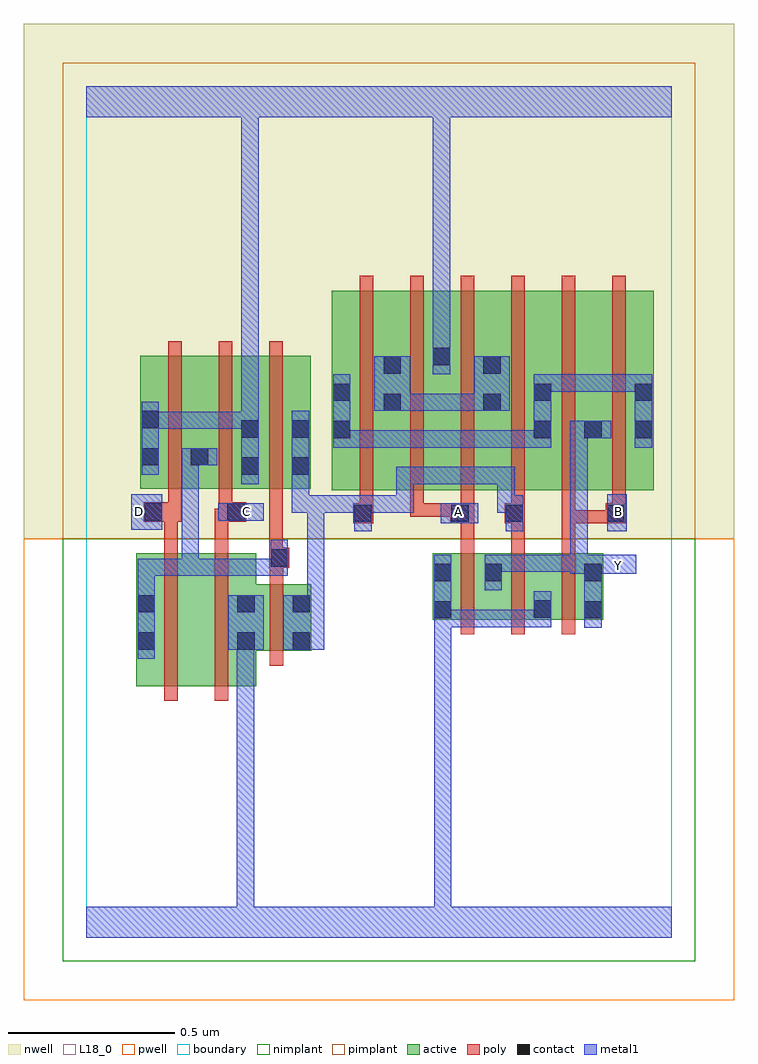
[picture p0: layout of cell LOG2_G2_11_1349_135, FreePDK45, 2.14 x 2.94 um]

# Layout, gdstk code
import gdstk
lib = gdstk.Library(unit=1e-6, precision=1e-09)
def R(c, l, rs):  # rectangles x0, y0, x1, y1
    for r in rs: c.add(gdstk.rectangle(r[:2], r[2:], *l))
def A(c, l, x, y, w, h, nx, ny, dx, dy):  # array of equal rectangles
    R(c, l, [(x+i*dx, y+j*dy, x+i*dx+w, y+j*dy+h) for i in range(nx) for j in range(ny)])
active = (1, 0)
pwell = (2, 0)
nwell = (3, 0)
nimplant = (4, 0)
pimplant = (5, 0)
poly = (9, 0)
contact = (10, 0)
metal1 = (11, 0)
L18_0 = (18, 0)
boundary = (235, 0)

log2_g2_11_1349_135 = lib.new_cell('LOG2_G2_11_1349_135')
A(log2_g2_11_1349_135, active, 1.038, 1.346, 0.06, 0.6, 3, 1, 0.152, 0)
A(log2_g2_11_1349_135, active, 1.038, 1.346, 0.212, 0.6, 4, 1, 0.152, 0)
R(log2_g2_11_1349_135, active, [(0.15,0.756,0.33,1.156), (0.15,0.756,0.21,1.156), (0.33,0.756,0.51,1.156), (0.45,0.756,0.51,1.034), (0.45,0.862,0.676,1.062), (0.616,0.862,0.676,1.062), (1.042,0.956,1.102,1.156), (1.042,0.956,1.254,1.156), (1.194,0.956,1.254,1.156), (1.194,0.956,1.402,1.156), (1.342,0.956,1.402,1.156), (1.342,0.956,1.554,1.156), (1.494,0.956,1.554,1.156), (0.738,1.346,0.798,1.946), (0.738,1.346,0.95,1.946), (0.89,1.346,0.95,1.946), (0.89,1.346,1.098,1.946), (1.646,1.346,1.706,1.946), (0.162,1.35,0.222,1.75), (0.162,1.35,0.37,1.75), (0.31,1.35,0.522,1.75), (0.462,1.35,0.522,1.75), (0.462,1.35,0.674,1.75), (0.614,1.35,0.674,1.644), (0.31,1.416,0.37,1.644), (1.494,1.498,1.554,1.844)])
R(log2_g2_11_1349_135, pwell, [(-0.188,-0.188,1.948,1.2)])
R(log2_g2_11_1349_135, nwell, [(-0.188,1.2,1.948,2.748)])
R(log2_g2_11_1349_135, nimplant, [(-0.072,-0.072,1.832,1.2)])
R(log2_g2_11_1349_135, pimplant, [(-0.072,1.2,1.832,2.632)])
A(log2_g2_11_1349_135, poly, 1.126, 0.912, 0.04, 0.288, 3, 1, 0.152, 0)
A(log2_g2_11_1349_135, poly, 1.126, 1.16, 0.04, 0.126, 3, 1, 0.152, 0)
A(log2_g2_11_1349_135, poly, 0.822, 1.266, 0.04, 0.076, 4, 1, 0.152, 0)
A(log2_g2_11_1349_135, poly, 0.822, 1.302, 0.04, 0.688, 6, 1, 0.152, 0)
A(log2_g2_11_1349_135, poly, 0.246, 1.306, 0.04, 0.488, 3, 1, 0.152, 0)
R(log2_g2_11_1349_135, poly, [(0.234,0.712,0.274,1.2), (0.386,0.712,0.426,1.2), (0.552,0.818,0.592,1.106), (0.552,1.066,0.592,1.152), (0.55,1.112,0.61,1.172), (0.55,1.132,0.59,1.172), (0.55,1.132,0.59,1.172), (0.55,1.132,0.59,1.346), (0.234,1.16,0.274,1.29), (0.386,1.16,0.426,1.29), (0.802,1.246,0.862,1.306), (1.094,1.246,1.166,1.306), (1.258,1.246,1.318,1.306), (1.278,1.246,1.318,1.286), (1.278,1.246,1.318,1.286), (1.43,1.246,1.602,1.286), (1.43,1.246,1.47,1.286), (1.43,1.246,1.47,1.286), (1.43,1.246,1.47,1.286), (1.43,1.246,1.47,1.286), (1.43,1.246,1.47,1.286), (1.43,1.246,1.47,1.342), (1.562,1.246,1.622,1.306), (0.172,1.25,0.286,1.31), (0.234,1.25,0.274,1.29), (0.234,1.25,0.274,1.29), (0.386,1.25,0.438,1.29), (0.398,1.25,0.438,1.29), (0.398,1.25,0.48,1.31), (0.974,1.266,1.014,1.306), (0.974,1.266,1.014,1.306), (0.974,1.266,1.014,1.306), (0.974,1.266,1.166,1.306), (1.126,1.266,1.166,1.306), (1.126,1.266,1.166,1.306), (1.582,1.266,1.622,1.342), (0.246,1.27,0.286,1.346), (0.398,1.27,0.438,1.346)])
A(log2_g2_11_1349_135, contact, 1.346, 1.502, 0.052, 0.052, 3, 1, 0.152, 0)
R(log2_g2_11_1349_135, contact, [(0.154,0.866,0.206,0.918), (0.454,0.866,0.506,0.918), (0.62,0.866,0.672,0.918), (1.046,0.96,1.098,1.012), (1.498,0.96,1.55,1.012), (1.346,0.962,1.398,1.014), (0.154,0.978,0.206,1.03), (0.454,0.978,0.506,1.03), (0.62,0.978,0.672,1.03), (1.046,1.072,1.098,1.124), (1.198,1.072,1.25,1.124), (1.498,1.072,1.55,1.124), (0.554,1.116,0.606,1.168), (0.806,1.25,0.858,1.302), (1.098,1.25,1.15,1.302), (1.262,1.25,1.314,1.302), (1.566,1.25,1.618,1.302), (0.176,1.254,0.228,1.306), (0.424,1.254,0.476,1.306), (0.466,1.392,0.518,1.444), (0.618,1.392,0.67,1.444), (0.166,1.42,0.218,1.472), (0.314,1.42,0.366,1.472), (0.742,1.502,0.794,1.554), (0.466,1.504,0.518,1.556), (0.618,1.504,0.67,1.556), (0.166,1.532,0.218,1.584), (0.894,1.584,0.946,1.636), (1.194,1.584,1.246,1.636), (0.742,1.614,0.794,1.666), (1.346,1.614,1.398,1.666), (1.65,1.614,1.702,1.666), (0.894,1.696,0.946,1.748), (1.194,1.696,1.246,1.748), (1.042,1.722,1.094,1.774)])
R(log2_g2_11_1349_135, metal1, [(0,0,1.76,0.092), (0.452,0.04,0.504,0.092), (0.452,0.04,0.504,0.092), (0.452,0.04,0.504,0.092), (0.452,0.04,0.504,0.092), (0.452,0.04,0.504,0.092), (0.452,0.04,0.504,0.092), (0.452,0.04,0.504,0.918), (1.046,0.04,1.098,0.092), (1.046,0.04,1.098,0.092), (1.046,0.04,1.098,0.092), (1.046,0.04,1.098,0.092), (1.046,0.04,1.098,0.092), (1.046,0.04,1.098,0.092), (1.046,0.04,1.098,0.092), (1.046,0.04,1.098,0.092), (1.046,0.04,1.098,0.092), (1.046,0.04,1.098,0.092), (1.046,0.04,1.098,0.984), (0.154,0.838,0.206,1.058), (0.426,0.866,0.534,1.03), (0.452,0.866,0.504,0.918), (0.452,0.866,0.504,0.918), (0.452,0.866,0.504,0.918), (0.452,0.866,0.504,0.918), (0.452,0.866,0.504,0.918), (0.452,0.866,0.504,0.918), (0.592,0.866,0.716,1.03), (1.046,0.932,1.098,0.984), (1.046,0.932,1.098,0.984), (1.046,0.932,1.098,0.984), (1.046,0.932,1.098,0.984), (1.046,0.932,1.098,0.984), (1.046,0.932,1.098,0.984), (1.046,0.932,1.098,1.152), (1.498,0.932,1.55,1.152), (1.046,0.934,1.098,0.986), (1.046,0.934,1.098,0.986), (1.046,0.934,1.288,0.986), (1.236,0.934,1.288,0.986), (1.236,0.934,1.288,0.986), (1.236,0.934,1.288,0.986), (1.236,0.934,1.398,0.986), (1.346,0.934,1.398,1.042), (0.664,0.978,0.716,1.03), (0.664,0.978,0.716,1.03), (0.664,0.978,0.716,1.33), (0.154,1.006,0.206,1.14), (1.198,1.044,1.25,1.152), (0.154,1.088,0.206,1.14), (0.154,1.088,0.206,1.14), (0.154,1.088,0.206,1.14), (0.154,1.088,0.338,1.14), (0.286,1.088,0.338,1.14), (0.286,1.088,0.338,1.14), (0.286,1.088,0.338,1.14), (0.286,1.088,0.496,1.14), (0.286,1.088,0.338,1.472), (0.444,1.088,0.496,1.14), (0.444,1.088,0.496,1.14), (0.444,1.088,0.496,1.14), (0.444,1.088,0.606,1.14), (0.554,1.088,0.606,1.196), (1.456,1.094,1.654,1.152), (1.498,1.094,1.55,1.146), (1.198,1.1,1.25,1.152), (1.198,1.1,1.25,1.152), (1.198,1.1,1.398,1.152), (1.346,1.1,1.398,1.152), (1.346,1.1,1.398,1.152), (1.346,1.1,1.398,1.152), (1.346,1.1,1.55,1.152), (1.456,1.1,1.508,1.152), (1.456,1.1,1.508,1.152), (1.456,1.1,1.508,1.554), (0.806,1.222,0.858,1.33), (1.262,1.222,1.314,1.33), (1.566,1.222,1.626,1.334), (0.134,1.226,0.228,1.334), (1.066,1.246,1.178,1.306), (0.396,1.254,0.534,1.306), (0.618,1.278,0.67,1.416), (0.618,1.278,0.716,1.33), (0.664,1.278,0.716,1.33), (0.664,1.278,0.716,1.33), (0.664,1.278,0.858,1.33), (0.806,1.278,0.984,1.33), (0.932,1.278,0.984,1.416), (1.236,1.278,1.314,1.33), (1.236,1.278,1.288,1.416), (0.466,1.364,0.518,1.584), (0.618,1.364,0.67,1.584), (0.932,1.364,0.984,1.416), (0.932,1.364,0.984,1.416), (0.932,1.364,1.094,1.416), (1.042,1.364,1.094,1.416), (1.042,1.364,1.094,1.416), (1.042,1.364,1.094,1.416), (1.042,1.364,1.288,1.416), (0.166,1.392,0.218,1.612), (0.286,1.42,0.394,1.472), (0.742,1.474,0.794,1.694), (0.742,1.474,0.864,1.526), (0.812,1.474,0.864,1.526), (0.812,1.474,0.984,1.526), (0.932,1.474,0.984,1.526), (0.932,1.474,0.984,1.526), (0.932,1.474,0.984,1.526), (0.932,1.474,1.108,1.526), (1.056,1.474,1.108,1.526), (1.056,1.474,1.108,1.526), (1.056,1.474,1.108,1.526), (1.056,1.474,1.288,1.526), (1.236,1.474,1.288,1.526), (1.236,1.474,1.288,1.526), (1.236,1.474,1.288,1.526), (1.236,1.474,1.398,1.526), (1.346,1.474,1.398,1.694), (1.65,1.474,1.702,1.694), (1.456,1.502,1.578,1.554), (0.166,1.53,0.218,1.582), (0.166,1.53,0.218,1.582), (0.166,1.53,0.368,1.582), (0.316,1.53,0.368,1.582), (0.316,1.53,0.368,1.582), (0.316,1.53,0.368,1.582), (0.316,1.53,0.518,1.582), (0.466,1.532,0.518,2.52), (0.866,1.584,0.974,1.748), (0.922,1.584,0.974,1.636), (0.922,1.584,0.974,1.636), (0.922,1.584,1.108,1.636), (1.056,1.584,1.108,1.636), (1.056,1.584,1.108,1.636), (1.056,1.584,1.108,1.636), (1.056,1.584,1.218,1.636), (1.166,1.584,1.274,1.748), (1.346,1.642,1.398,1.694), (1.346,1.642,1.398,1.694), (1.346,1.642,1.508,1.694), (1.456,1.642,1.508,1.694), (1.456,1.642,1.508,1.694), (1.456,1.642,1.508,1.694), (1.456,1.642,1.702,1.694), (1.65,1.642,1.702,1.694), (1.65,1.642,1.702,1.694), (1.042,1.694,1.094,1.802), (1.042,1.75,1.094,2.52), (0,2.468,1.76,2.56), (0.466,2.468,0.518,2.52), (0.466,2.468,0.518,2.52), (0.466,2.468,0.518,2.52), (0.466,2.468,0.518,2.52), (0.466,2.468,0.518,2.52), (0.466,2.468,0.518,2.52), (0.466,2.468,0.518,2.52), (0.466,2.468,0.518,2.52), (0.466,2.468,0.518,2.52), (0.466,2.468,0.518,2.52), (0.466,2.468,0.518,2.52), (0.466,2.468,0.518,2.52), (0.466,2.468,0.518,2.52), (0.466,2.468,0.518,2.52), (0.466,2.468,0.518,2.52), (0.466,2.468,0.518,2.52), (1.042,2.468,1.094,2.52), (1.042,2.468,1.094,2.52), (1.042,2.468,1.094,2.52), (1.042,2.468,1.094,2.52), (1.042,2.468,1.094,2.52), (1.042,2.468,1.094,2.52), (1.042,2.468,1.094,2.52), (1.042,2.468,1.094,2.52), (1.042,2.468,1.094,2.52), (1.042,2.468,1.094,2.52), (1.042,2.468,1.094,2.52), (1.042,2.468,1.094,2.52)])
R(log2_g2_11_1349_135, L18_0, [(0,0,1.76,0.092), (0.452,0.04,0.504,0.092), (0.452,0.04,0.504,0.092), (0.452,0.04,0.504,0.092), (0.452,0.04,0.504,0.092), (0.452,0.04,0.504,0.092), (0.452,0.04,0.504,0.092), (0.452,0.04,0.504,0.918), (1.046,0.04,1.098,0.092), (1.046,0.04,1.098,0.092), (1.046,0.04,1.098,0.092), (1.046,0.04,1.098,0.092), (1.046,0.04,1.098,0.092), (1.046,0.04,1.098,0.092), (1.046,0.04,1.098,0.092), (1.046,0.04,1.098,0.092), (1.046,0.04,1.098,0.092), (1.046,0.04,1.098,0.092), (1.046,0.04,1.098,0.984), (0.426,0.866,0.534,1.03), (0.452,0.866,0.504,0.918), (0.452,0.866,0.504,0.918), (0.452,0.866,0.504,0.918), (0.452,0.866,0.504,0.918), (0.452,0.866,0.504,0.918), (0.452,0.866,0.504,0.918), (1.046,0.932,1.098,1.152), (1.046,0.932,1.098,0.984), (1.046,0.932,1.098,0.984), (1.046,0.932,1.098,0.984), (1.046,0.932,1.098,0.984), (1.046,0.932,1.098,0.984), (1.046,0.932,1.098,0.984), (1.498,0.932,1.55,1.152), (1.046,0.934,1.098,0.986), (1.046,0.934,1.098,0.986), (1.046,0.934,1.288,0.986), (1.236,0.934,1.288,0.986), (1.236,0.934,1.288,0.986), (1.236,0.934,1.288,0.986), (1.236,0.934,1.398,0.986), (1.346,0.934,1.398,1.042), (1.198,1.044,1.25,1.152), (1.456,1.094,1.654,1.152), (1.498,1.094,1.55,1.146), (1.574,1.094,1.626,1.146), (1.198,1.1,1.25,1.152), (1.198,1.1,1.25,1.152), (1.198,1.1,1.398,1.152), (1.346,1.1,1.398,1.152), (1.346,1.1,1.398,1.152), (1.346,1.1,1.398,1.152), (1.346,1.1,1.55,1.152), (1.456,1.1,1.508,1.152), (1.456,1.1,1.508,1.152), (1.456,1.1,1.508,1.554), (1.566,1.222,1.626,1.334), (0.134,1.226,0.228,1.334), (1.066,1.246,1.178,1.306), (0.134,1.254,0.186,1.306), (0.396,1.254,0.534,1.306), (0.454,1.254,0.506,1.306), (1.094,1.254,1.146,1.306), (1.574,1.254,1.626,1.306), (0.466,1.364,0.518,1.584), (0.166,1.392,0.218,1.612), (1.456,1.502,1.578,1.554), (0.166,1.53,0.218,1.582), (0.166,1.53,0.218,1.582), (0.166,1.53,0.368,1.582), (0.316,1.53,0.368,1.582), (0.316,1.53,0.368,1.582), (0.316,1.53,0.368,1.582), (0.316,1.53,0.518,1.582), (0.466,1.532,0.518,2.52), (1.042,1.694,1.094,1.802), (1.042,1.75,1.094,2.52), (0,2.468,1.76,2.56), (0.466,2.468,0.518,2.52), (0.466,2.468,0.518,2.52), (0.466,2.468,0.518,2.52), (0.466,2.468,0.518,2.52), (0.466,2.468,0.518,2.52), (0.466,2.468,0.518,2.52), (0.466,2.468,0.518,2.52), (0.466,2.468,0.518,2.52), (0.466,2.468,0.518,2.52), (0.466,2.468,0.518,2.52), (0.466,2.468,0.518,2.52), (0.466,2.468,0.518,2.52), (0.466,2.468,0.518,2.52), (0.466,2.468,0.518,2.52), (0.466,2.468,0.518,2.52), (0.466,2.468,0.518,2.52), (1.042,2.468,1.094,2.52), (1.042,2.468,1.094,2.52), (1.042,2.468,1.094,2.52), (1.042,2.468,1.094,2.52), (1.042,2.468,1.094,2.52), (1.042,2.468,1.094,2.52), (1.042,2.468,1.094,2.52), (1.042,2.468,1.094,2.52), (1.042,2.468,1.094,2.52), (1.042,2.468,1.094,2.52), (1.042,2.468,1.094,2.52), (1.042,2.468,1.094,2.52)])
R(log2_g2_11_1349_135, boundary, [(0,0,1.76,2.56)])
log2_g2_11_1349_135.add(gdstk.Label('A', (1.12,1.28), layer=11, texttype=0))
log2_g2_11_1349_135.add(gdstk.Label('B', (1.6,1.28), layer=11, texttype=0))
log2_g2_11_1349_135.add(gdstk.Label('C', (0.48,1.28), layer=11, texttype=0))
log2_g2_11_1349_135.add(gdstk.Label('D', (0.16,1.28), layer=11, texttype=0))
log2_g2_11_1349_135.add(gdstk.Label('Y', (1.6,1.12), layer=11, texttype=0))

lib.write_gds('LOG2_G2_11_1349_135.gds')
